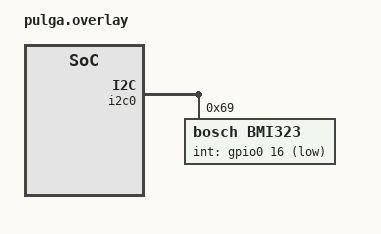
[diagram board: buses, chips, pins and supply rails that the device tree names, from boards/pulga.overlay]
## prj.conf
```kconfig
# Copyright (c) 2021 Nordic Semiconductor ASA
# SPDX-License-Identifier: Apache-2.0
#
# This file contains selected Kconfig options for the application.

# Activates the use of Zephyr's API for sensors
CONFIG_SENSOR=y
CONFIG_I2C=y
CONFIG_SYSTEM_WORKQUEUE_STACK_SIZE=2048

CONFIG_BMI323=y
CONFIG_BMI323_BUS_I2C=y

CONFIG_APP_LOG_LEVEL_DBG=y
CONFIG_SENSOR_LOG_LEVEL_DBG=y
CONFIG_DEBUG_OPTIMIZATIONS=y
CONFIG_LOG_PROCESS_THREAD_SLEEP_MS=1
CONFIG_LOG_PROCESS_THREAD_STACK_SIZE=1024
CONFIG_LOG_BUFFER_SIZE=8192
CONFIG_CBPRINTF_FP_SUPPORT=y

CONFIG_RTIO=y
CONFIG_SENSOR_ASYNC_API=y
```

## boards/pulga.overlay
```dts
/**
* This piece of code activates the sensors internal to the board,
* connected to the CPU by I2C0 
*/
&i2c0 {

	/*Accelerometer and Gyroscope*/
	bmi323: bmi323@69 {
		compatible = "bosch,bmi323";
		reg = <0x69>;
		int-gpios = <&gpio0 16 GPIO_ACTIVE_LOW>;
		status = "okay";
	};

	/*Visible light, Infrared and UV Sensor*/
	si1133@55 {
		compatible = "silabs,si1133";
		reg = <0x55>;
		status = "disabled";
	};

	/*Umidity, Pressure and Temperature Sensor*/
	bme280@77 {
		compatible = "bosch,bme280";
		reg = <0x77>;
		status = "disabled";
	};
};
```

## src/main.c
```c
#include <zephyr/logging/log.h>

#include <zephyr/drivers/sensor.h>

//#include <zephyr/types.h>
//#include <stddef.h>
//#include <string.h>
//#include <errno.h>
//#include <stdio.h>
//#include <stdlib.h>

#include <zephyr/rtio/rtio.h>
//#include <zephyr/sys/util.h>
//#include <zephyr/sys/printk.h>
//#include <zephyr/sys/byteorder.h>
//#include <zephyr/kernel.h>
#include <zephyr/drivers/sensor.h>
#include <zephyr/sys/byteorder.h>

#include <../../../../zephyr/drivers/sensor/bosch/bmi323/bmi323.h>
#include <../../../../zephyr/drivers/sensor/bosch/bmi323/bmi323_i2c.h>

// change log level in debug.conf
LOG_MODULE_REGISTER(main, CONFIG_APP_LOG_LEVEL);

static const struct device *bmi323;

#define BMI323_NODE DT_COMPAT_GET_ANY_STATUS_OKAY(bosch_bmi323)

/* cria automaticamente o RTIO iodev */
SENSOR_DT_READ_IODEV(bmi323_iodev, BMI323_NODE, SENSOR_CHAN_ACCEL_XYZ);

RTIO_DEFINE(rtio_ctx, 4, 4);

/* === BUFFERS === */
#define FIFO_BUFFER_SIZE 1024 //1024
static uint8_t fifo_buffer[FIFO_BUFFER_SIZE];

uint8_t read_buffer[2048];

typedef struct
{
    struct sensor_value acceleration[3];
    struct sensor_value rotation[3];
    uint32_t timestamp;
} SensorModelBMI323;

typedef struct
{
    int16_t X_axis;
    int16_t Y_axis;
    int16_t Z_axis;
} leitura;

#define MAX_READINGS 6400 //6400

leitura readings_buffer[MAX_READINGS];
int write_index;

int64_t time_aux_main;

static int init_bmi323()
{
    LOG_DBG("Initializing BMI323");
    bmi323 = DEVICE_DT_GET_ANY(bosch_bmi323);

    if (!bmi323)
    {
        LOG_ERR("bmi323 not declared at device tree");
        return -ENODEV;
    }
    else if (!device_is_ready(bmi323))
    {
        LOG_ERR("device \"%s\" is not ready", bmi323->name);
        return -EAGAIN;
    }

   k_usleep(100);

    bosch_bmi323_set_fifo_acc(bmi323, 160);
    k_usleep(100);

    return 0;
}

static int config_bmi323(void)
{
    int ret;
    struct sensor_value v;
    
    printf("Config BMI323\n");
    //k_msleep(50);

    /* =========================
     * ACCELERÔMETRO
     * ========================= */

	/* Disnable ACC */
	v.val1 = 0;				//bmi_dev
	ret = sensor_attr_set(bmi323,
			      SENSOR_CHAN_ACCEL_XYZ,
			      SENSOR_ATTR_FEATURE_MASK,
			      &v);
	if (ret) return ret;

    /* 1. ODR = 100 Hz */
    v.val1 = 6400;
    v.val2 = 0;
    ret = sensor_attr_set(bmi323,
                          SENSOR_CHAN_ACCEL_XYZ,
                          SENSOR_ATTR_SAMPLING_FREQUENCY,
                          &v);
    if (ret) {
        LOG_ERR("ACC ODR failed: %d", ret);
        return ret;
    }

    /* 2. Range = ±4g */
    v.val1 = 4;
    v.val2 = 0;
    ret = sensor_attr_set(bmi323,
                          SENSOR_CHAN_ACCEL_XYZ,
                          SENSOR_ATTR_FULL_SCALE,
                          &v);
    if (ret) {
        LOG_ERR("ACC range failed: %d", ret);
        return ret;
    }

    /* 3. ENABLE ACC (isso tira do DIS!) */
    v.val1 = 1;   /* NÃO use 1 */
    v.val2 = 0;
    ret = sensor_attr_set(bmi323,
                          SENSOR_CHAN_ACCEL_XYZ,
                          SENSOR_ATTR_FEATURE_MASK,
                          &v);
    if (ret) {
        LOG_ERR("ACC enable failed: %d", ret);
        return ret;
    }

    // /* FIFO watermark */
    // v.val1 = 20;   /* 20 frames */
    // v.val2 = 0;    /* não parar quando cheia */

    // sensor_attr_set(bmi323,
    //                 SENSOR_CHAN_ACCEL_XYZ,
    //                 SENSOR_ATTR_BMI323_FIFO_WATERMARK,
    //                 &v);

    // printf("FIFO configurada\n");

    bmi323_fifo_enable_acc(bmi323);

    k_msleep(50);

    uint16_t verify;
    //int ret2;

    ret = bmi323_read_reg(bmi323,
                        IMU_BOSCH_BMI323_REG_ACC_CONF,
                        &verify);

    if (!ret) {
        printf("ACC_ODR_CONF = 0x%04X\n", verify);
    } else {
        printf("Read error: %d\n", ret);
    }

    /* =========================
     * STARTUP DELAY
     * ========================= */

    /* Aguarda pelo menos 2 períodos de ODR (100 Hz -> 20 ms) */
    k_msleep(30);

    return 0;
}

int main(void)
{
    printf("BMI323 FIFO TEST\n");

    if (init_bmi323()) {
        printf("Init failed\n");
        return 0;
    }

    if (config_bmi323()) {
        printf("Config failed\n");
        return 0;
    }

    //printf("Flush FIFO\n");

    bosch_bmi323_fifo_flush(bmi323);

    // /* pegar decoder uma vez */
    // const struct sensor_decoder_api *decoder;

    // if (sensor_get_decoder(bmi323, &decoder) != 0) {
    //     printk("Decoder error\n");
    //     return 0;
    // }

    uint32_t sample_count = 0;
    int64_t start_time = k_uptime_get();

     while (1) {

        printf("Loop principal\n");

        uint16_t bytes_lidos = 0;

        /* =========================
        Ler FIFO via driver
        ========================= */

        int ret = bosch_bmi323_fifo_read_acc(
                        bmi323,
                        fifo_buffer,
                        FIFO_BUFFER_SIZE,
                        &bytes_lidos);

        if (ret < 0) {
            printf("Erro lendo FIFO\n");
            k_msleep(10);
            continue;
        }

        if (bytes_lidos == 0) {
            printf("FIFO vazia\n");
            k_msleep(10);
            continue;
        }

        printf("FIFO lida: %u bytes\n", bytes_lidos);

        /* =========================
        Interpretar ACC
        ========================= */

        for (int i = 0; i < bytes_lidos; i += 6) {

            int16_t x = sys_get_le16(&fifo_buffer[i]);
            int16_t y = sys_get_le16(&fifo_buffer[i + 2]);
            int16_t z = sys_get_le16(&fifo_buffer[i + 4]);

            printf("ACC X=%d Y=%d Z=%d\n", x, y, z);

            sample_count++;
        }
        //k_msleep(500);
        k_usleep(100);
    }
}
```
